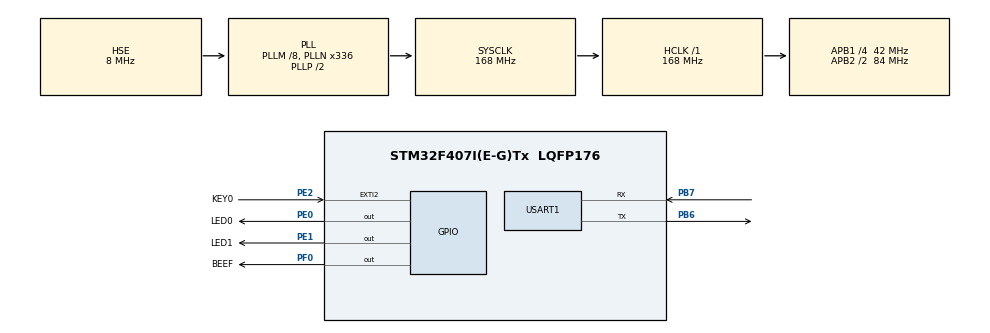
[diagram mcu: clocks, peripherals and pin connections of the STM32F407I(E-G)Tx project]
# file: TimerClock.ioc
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FREERTOS.INCLUDE_vTaskDelayUntil=1
FREERTOS.MEMORY_ALLOCATION=2
FREERTOS.Queues01=CmdQueue,50,uint8_t,0,Dynamic,NULL,NULL;LedQueue,20,uint8_t,0,Dynamic,NULL,NULL
FREERTOS.Tasks01=UsartTask,-2,128,Usart_Task,Default,NULL,Static,UsartTaskBuffer,UsartTaskControlBlock;LedxTask,0,128,Ledx_Task,Default,NULL,Dynamic,NULL,NULL;Key0Task,0,128,Key0_Task,Default,NULL,Dynamic,NULL,NULL;DelayTask,-2,128,Delay_Task,Default,NULL,Dynamic,NULL,NULL
FREERTOS.Timers01=RtcTimer,Rtc_Timer,osTimerPeriodic,Default,NULL,Dynamic,NULL
FREERTOS.configCHECK_FOR_STACK_OVERFLOW=1
FREERTOS.configGENERATE_RUN_TIME_STATS=1
FREERTOS.configUSE_STATS_FORMATTING_FUNCTIONS=1
FREERTOS.configUSE_TIMERS=1
FREERTOS.configUSE_TRACE_FACILITY=1
Mcu.Family=STM32F4
Mcu.Name=STM32F407I(E-G)Tx
Mcu.Package=LQFP176
NVIC.EXTI2_IRQn=true\:5\:0\:false\:false\:true\:true\:true\:true\:true
NVIC.PriorityGroup=NVIC_PRIORITYGROUP_4
NVIC.TIM1_UP_TIM10_IRQn=true\:0\:0\:true\:false\:true\:false\:false\:true\:true
NVIC.TIM6_DAC_IRQn=true\:5\:0\:false\:false\:true\:true\:true\:true\:true
NVIC.TimeBase=TIM1_UP_TIM10_IRQn
NVIC.TimeBaseIP=TIM1
NVIC.USART1_IRQn=true\:5\:0\:false\:false\:true\:true\:true\:true\:true
PA13.Mode=Serial_Wire
PA13.Signal=SYS_JTMS-SWDIO
PA14.Mode=Serial_Wire
PA14.Signal=SYS_JTCK-SWCLK
PB6.Mode=Asynchronous
PB6.Signal=USART1_TX
PB7.Mode=Asynchronous
PB7.Signal=USART1_RX
PC14-OSC32_IN.Mode=LSE-External-Oscillator
PC14-OSC32_IN.Signal=RCC_OSC32_IN
PC15-OSC32_OUT.Mode=LSE-External-Oscillator
PC15-OSC32_OUT.Signal=RCC_OSC32_OUT
PE0.GPIO_Label=LED0
PE0.GPIO_Speed=GPIO_SPEED_FREQ_HIGH
PE0.PinState=GPIO_PIN_SET
PE0.Signal=GPIO_Output
PE1.GPIO_Label=LED1
PE1.GPIO_Speed=GPIO_SPEED_FREQ_HIGH
PE1.PinState=GPIO_PIN_SET
PE1.Signal=GPIO_Output
PE2.GPIO_Label=KEY0
PE2.GPIO_ModeDefaultEXTI=GPIO_MODE_IT_RISING_FALLING
PE2.GPIO_PuPd=GPIO_PULLUP
PE2.Signal=GPXTI2
PF0.GPIO_Label=BEEF
PF0.GPIO_PuPd=GPIO_PULLUP
PF0.GPIO_Speed=GPIO_SPEED_FREQ_HIGH
PF0.PinState=GPIO_PIN_RESET
PF0.Signal=GPIO_Output
PH0-OSC_IN.Mode=HSE-External-Oscillator
PH0-OSC_IN.Signal=RCC_OSC_IN
PH1-OSC_OUT.Mode=HSE-External-Oscillator
PH1-OSC_OUT.Signal=RCC_OSC_OUT
ProjectManager.HeapSize=0x200
ProjectManager.StackSize=0x400
ProjectManager.TargetToolchain=MDK-ARM V5.32
RCC.48MHZClocksFreq_Value=84000000
RCC.AHBFreq_Value=168000000
RCC.APB1CLKDivider=RCC_HCLK_DIV4
RCC.APB1Freq_Value=42000000
RCC.APB1TimFreq_Value=84000000
RCC.APB2CLKDivider=RCC_HCLK_DIV2
RCC.APB2Freq_Value=84000000
RCC.APB2TimFreq_Value=168000000
RCC.CortexFreq_Value=168000000
RCC.HCLKFreq_Value=168000000
RCC.HSE_VALUE=8000000
RCC.HSI_VALUE=16000000
RCC.PLLM=8
RCC.PLLN=336
RCC.PLLSourceVirtual=RCC_PLLSOURCE_HSE
RCC.RCC_RTC_Clock_Source=RCC_RTCCLKSOURCE_LSE
RCC.SYSCLKFreq_VALUE=168000000
RCC.SYSCLKSource=RCC_SYSCLKSOURCE_PLLCLK
RCC.VCOOutputFreq_Value=336000000
RTC.Format=RTC_FORMAT_BIN
TIM6.Period=50-1
TIM6.Prescaler=84-1
USART1.VirtualMode=VM_ASYNC
VP_FREERTOS_VS_CMSIS_V1.Mode=CMSIS_V1
VP_RTC_VS_RTC_Activate.Mode=RTC_Enabled
VP_RTC_VS_RTC_Calendar.Mode=RTC_Calendar
VP_SYS_VS_tim1.Mode=TIM1
VP_TIM6_VS_ClockSourceINT.Mode=Enable_Timer
board=custom

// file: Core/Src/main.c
/* USER CODE BEGIN Header */
/**
  ******************************************************************************
  * @file           : main.c
  * @brief          : Main program body
  ******************************************************************************
  * @attention
  *
  * Copyright (c) 2024 STMicroelectronics.
  * All rights reserved.
  *
  * This software is licensed under terms that can be found in the LICENSE file
  * in the root directory of this software component.
  * If no LICENSE file comes with this software, it is provided AS-IS.
  *
  ******************************************************************************
  */
/* USER CODE END Header */
#include "main.h"
#include "cmsis_os.h"
#include "rtc.h"
#include "tim.h"
#include "usart.h"
#include "gpio.h"

/* USER CODE BEGIN Includes */
#include <stdio.h>
/* USER CODE END Includes */

/* USER CODE BEGIN PV */
extern uint32_t u32TimeCount;
/* USER CODE END PV */

void SystemClock_Config(void);
void MX_FREERTOS_Init(void);

int main(void)
{

  /* MCU Configuration--------------------------------------------------------*/

  /* Reset of all peripherals, Initializes the Flash interface and the Systick. */
  HAL_Init();

  /* Configure the system clock */
  SystemClock_Config();

  /* Initialize all configured peripherals */
  MX_GPIO_Init();
  MX_USART1_UART_Init();
  MX_TIM6_Init();
  MX_RTC_Init();
  /* USER CODE BEGIN 2 */
	//printf("Usart test!");
  /* USER CODE END 2 */

  /* Call init function for freertos objects (in cmsis_os2.c) */
  MX_FREERTOS_Init();

  /* Start scheduler */
  osKernelStart();

  /* We should never get here as control is now taken by the scheduler */

  /* Infinite loop */
  while (1)
  {

  }
}

void SystemClock_Config(void)
{
  RCC_OscInitTypeDef RCC_OscInitStruct = {0};
  RCC_ClkInitTypeDef RCC_ClkInitStruct = {0};

  /** Configure the main internal regulator output voltage
  */
  __HAL_RCC_PWR_CLK_ENABLE();
  __HAL_PWR_VOLTAGESCALING_CONFIG(PWR_REGULATOR_VOLTAGE_SCALE1);

  /** Initializes the RCC Oscillators according to the specified parameters
  * in the RCC_OscInitTypeDef structure.
  */
  RCC_OscInitStruct.OscillatorType = RCC_OSCILLATORTYPE_HSE|RCC_OSCILLATORTYPE_LSE;
  RCC_OscInitStruct.HSEState = RCC_HSE_ON;
  RCC_OscInitStruct.LSEState = RCC_LSE_ON;
  RCC_OscInitStruct.PLL.PLLState = RCC_PLL_ON;
  RCC_OscInitStruct.PLL.PLLSource = RCC_PLLSOURCE_HSE;
  RCC_OscInitStruct.PLL.PLLM = 8;
  RCC_OscInitStruct.PLL.PLLN = 336;
  RCC_OscInitStruct.PLL.PLLP = RCC_PLLP_DIV2;
  RCC_OscInitStruct.PLL.PLLQ = 4;
  if (HAL_RCC_OscConfig(&RCC_OscInitStruct) != HAL_OK)
  {
    Error_Handler();
  }

  /** Initializes the CPU, AHB and APB buses clocks
  */
  RCC_ClkInitStruct.ClockType = RCC_CLOCKTYPE_HCLK|RCC_CLOCKTYPE_SYSCLK
                              |RCC_CLOCKTYPE_PCLK1|RCC_CLOCKTYPE_PCLK2;
  RCC_ClkInitStruct.SYSCLKSource = RCC_SYSCLKSOURCE_PLLCLK;
  RCC_ClkInitStruct.AHBCLKDivider = RCC_SYSCLK_DIV1;
  RCC_ClkInitStruct.APB1CLKDivider = RCC_HCLK_DIV4;
  RCC_ClkInitStruct.APB2CLKDivider = RCC_HCLK_DIV2;

  if (HAL_RCC_ClockConfig(&RCC_ClkInitStruct, FLASH_LATENCY_5) != HAL_OK)
  {
    Error_Handler();
  }
}

/* USER CODE BEGIN 4 */
//printf
int fputc(int ch, FILE *f)
{
    while((USART1->SR & 0X40)==0);
    USART1->DR = (uint8_t) ch;
    return ch;
}
/* USER CODE END 4 */

void HAL_TIM_PeriodElapsedCallback(TIM_HandleTypeDef *htim)
{
  /* USER CODE BEGIN Callback 0 */
  if (htim->Instance == TIM1) {
    HAL_IncTick();
  }
  /* USER CODE END Callback 0 */
  if (htim->Instance == TIM1) {
    HAL_IncTick();
  }
  /* USER CODE BEGIN Callback 1 */
	if (htim->Instance == TIM6) {
    u32TimeCount++;
  }

  /* USER CODE END Callback 1 */
}

void Error_Handler(void)
{
  __disable_irq();
  while (1)
  {
  }
}

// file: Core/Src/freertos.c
/* USER CODE BEGIN Header */
/**
  ******************************************************************************
  * File Name          : freertos.c
  * Description        : Code for freertos applications
  ******************************************************************************
  * @attention
  *
  * Copyright (c) 2024 STMicroelectronics.
  * All rights reserved.
  *
  * This software is licensed under terms that can be found in the LICENSE file
  * in the root directory of this software component.
  * If no LICENSE file comes with this software, it is provided AS-IS.
  *
  ******************************************************************************
  */
/* USER CODE END Header */

#include "FreeRTOS.h"
#include "task.h"
#include "main.h"
#include "cmsis_os.h"

/* USER CODE BEGIN Includes */
#include "gpio.h"
#include "string.h"
#include "tim.h"
#include "string.h"
#include "rtc.h"
/* USER CODE END Includes */

/* USER CODE BEGIN PTD */

typedef struct tmrTimerControl
{
	const char				*pcTimerName;		/*<< Text name.  This is not used by the kernel, it is included simply to make debugging easier. */ /*lint !e971 Unqualified char types are allowed for strings and single characters only. */
	ListItem_t				xTimerListItem;		/*<< Standard linked list item as used by all kernel features for event management. */
	TickType_t				xTimerPeriodInTicks;/*<< How quickly and often the timer expires. */
	UBaseType_t				uxAutoReload;		/*<< Set to pdTRUE if the timer should be automatically restarted once expired.  Set to pdFALSE if the timer is, in effect, a one-shot timer. */
	void 					*pvTimerID;			/*<< An ID to identify the timer.  This allows the timer to be identified when the same callback is used for multiple timers. */
	TimerCallbackFunction_t	pxCallbackFunction;	/*<< The function that will be called when the timer expires. */
	#if( configUSE_TRACE_FACILITY == 1 )
		UBaseType_t			uxTimerNumber;		/*<< An ID assigned by trace tools such as FreeRTOS+Trace */
	#endif

	#if( ( configSUPPORT_STATIC_ALLOCATION == 1 ) && ( configSUPPORT_DYNAMIC_ALLOCATION == 1 ) )
		uint8_t 			ucStaticallyAllocated; /*<< Set to pdTRUE if the timer was created statically so no attempt is made to free the memory again if the timer is later deleted. */
	#endif
} xTIMER;

/* USER CODE END PTD */

/* USER CODE BEGIN PD */
#define LED_NUM  2  //LED数量

//串口接收buff
#define MESSAGE_BUFF_SIZE 50
//led接收buff
#define LED_MESSAGE_BUFF_SIZE 20
//实时时钟字符串头
#define REALTIME "realtime"
//闹钟字符串头
#define ALARMTIME "alarmtime"
//ms转换
#define ST0MS 1000ul
#define MT0MS (ST0MS*60)
#define HT0MS (MT0MS*60)
#define DT0MS (HT0MS*24)
/* USER CODE END PD */

/* USER CODE BEGIN PM */
extern teKeyStatus KeyStatus;
extern uint32_t u32TimeCount;
/* USER CODE END PM */

/* USER CODE BEGIN Variables */

uint8_t u8CmdBuff[MESSAGE_BUFF_SIZE];
static uint8_t u8LedMessageBuff[LED_MESSAGE_BUFF_SIZE];

//LED消息队列，字符串集
uint8_t *LedCmdString[LED_NUM*2] = {
	"openled0",
	"openled1",
	"closeled0",
	"closeled1"
};

uint8_t *OpenString[LED_NUM] = {
	"openled0",
	"openled1"
};

uint8_t *CloseString[LED_NUM] = {
	"closeled0",
	"closeled1"
};

GPIO_TypeDef * LedPort[LED_NUM] = {
	LED0_GPIO_Port,
	LED1_GPIO_Port
};

uint16_t LedPin[LED_NUM] ={
	LED0_Pin,
	LED1_Pin
};

//实时时钟字符串拆分解析结构体
struct sRealTimeString{
 uint8_t Hours[10];
 uint8_t Minutes[10];
 uint8_t Seconds[10];
 uint8_t Month[10];
 uint8_t Date[10];
 uint8_t Year[10];

}RealTimeString;
//闹钟字符串拆分解析结构体
struct sAlarmTimeString{
 uint8_t Hours[10];
 uint8_t Minutes[10];
 uint8_t Seconds[10];
 uint8_t Mode[10];
 uint8_t Action[10];

}AlarmTimeString;
//闹钟参数结构体
typedef struct{
 uint8_t Hours;
 uint8_t Minutes;
 uint8_t Seconds;
 uint8_t Mode;
 uint8_t Action;

} sAlarmTime;
/* USER CODE END Variables */
osThreadId UsartTaskHandle;
uint32_t UsartTaskBuffer[ 128 ];
osStaticThreadDef_t UsartTaskControlBlock;
osThreadId LedxTaskHandle;
osThreadId Key0TaskHandle;
osThreadId DelayTaskHandle;
osMessageQId CmdQueueHandle;
osMessageQId LedQueueHandle;
osTimerId RtcTimerHandle;

void Usart_Task(void const * argument);
void Ledx_Task(void const * argument);
void Key0_Task(void const * argument);
void Delay_Task(void const * argument);
void Rtc_Timer(void const * argument);

void MX_FREERTOS_Init(void); /* (MISRA C 2004 rule 8.1) */

/* GetIdleTaskMemory prototype (linked to static allocation support) */
void vApplicationGetIdleTaskMemory( StaticTask_t **ppxIdleTaskTCBBuffer, StackType_t **ppxIdleTaskStackBuffer, uint32_t *pulIdleTaskStackSize );

/* GetTimerTaskMemory prototype (linked to static allocation support) */
void vApplicationGetTimerTaskMemory( StaticTask_t **ppxTimerTaskTCBBuffer, StackType_t **ppxTimerTaskStackBuffer, uint32_t *pulTimerTaskStackSize );

/* Hook prototypes */
void configureTimerForRunTimeStats(void);
unsigned long getRunTimeCounterValue(void);
void vApplicationStackOverflowHook(xTaskHandle xTask, signed char *pcTaskName);

/* USER CODE BEGIN 1 */
/* Functions needed when configGENERATE_RUN_TIME_STATS is on */
__weak void configureTimerForRunTimeStats(void)
{
	//1. 开启定时器6的中断——启动定时器
	//2. 定时器统计值，初始化为0
	HAL_TIM_Base_Stop_IT(&htim6);  //参数：TIM_HandleTypeDef* 类型的定时器句柄指针(在tim.c中)
	u32TimeCount = 0ul;
}

__weak unsigned long getRunTimeCounterValue(void)
{
	return u32TimeCount;
}
/* USER CODE END 1 */

/* USER CODE BEGIN 4 */
__weak void vApplicationStackOverflowHook(xTaskHandle xTask, signed char *pcTaskName)
{
	 printf("%s is Stack OverFlow!\r\n", pcTaskName);
   /* Run time stack overflow checking is performed if
   configCHECK_FOR_STACK_OVERFLOW is defined to 1 or 2. This hook function is
   called if a stack overflow is detected. */
}
//模拟栈溢出
void vStackOverFlowTest(void){
	uint8_t u8TestBuffer[128];
	int16_t i;
	(void)u8TestBuffer;
	for(i = 360; i >= 0; i--){
		u8TestBuffer[i] = 0x88;
	}
}

//闹钟触发的软件定时器，回调函数
void vTimerCallback(xTimerHandle pxTimer){
  uint32_t ulTimerID;
  uint8_t i;
  //获取当前定时器ID
  ulTimerID = (uint32_t)pvTimerGetTimerID(pxTimer);
  //判断定时器工作模式，如果自动重载，则更新软件定时器周期
  if(((xTIMER*)pxTimer)->uxAutoReload){
      xTimerChangePeriodFromISR(pxTimer,DT0MS,NULL);
      printf("明天继续触发动作！！！\r\n");
  }
  printf("ulTimerID = %d\r\n",ulTimerID);
  //根据软件定时器ID号， 发送到led消息队列中
  for(i=0;i<strlen((char const*)LedCmdString[ulTimerID]);i++){
    xQueueSend(LedQueueHandle,&LedCmdString[ulTimerID][i],1);
  }
}

//计算闹钟与实时时钟之前的间隔时间，返回ms
uint32_t CountAlarmInterval(sAlarmTime AlarmTime){
  int32_t AlarmTimeTick,RealTimeTick;
  RTCTimeDates RTCTimeDate;
  //获取实时时钟
  RTCTimeDate = GetRTC();
  //计算闹钟ms计数
  AlarmTimeTick = AlarmTime.Hours*HT0MS+AlarmTime.Minutes*MT0MS+AlarmTime.Seconds*ST0MS;
  //计算实时时钟ms计数
  RealTimeTick = RTCTimeDate.RtcTime.Hours*HT0MS+RTCTimeDate.RtcTime.Minutes*MT0MS+RTCTimeDate.RtcTime.Seconds*ST0MS;
  printf("AlarmTimeTick = %lu\r\n",(unsigned long)AlarmTimeTick);
  printf("RealTimeTick = %lu\r\n",(unsigned long)RealTimeTick);
  //判断闹钟是否大于等于当前实时时钟
  //大于->返回闹钟-实时时钟
  if((AlarmTimeTick-RealTimeTick) >= 0){

      return AlarmTimeTick-RealTimeTick;
  }else{
    //小于->一天的ms值+实时时钟-返回闹钟
    return DT0MS+RealTimeTick-AlarmTimeTick;
  }
}

void ParseAlarmTimeString(uint8_t *buff){
	char *pbufftime;
	char *pbufftimeindex;
	char *pbuffparm;
	char *pbuffparmindex;
	uint32_t AlarmTick;
	TimerHandle_t xTimer;
	sAlarmTime AlarmTime;
	void SetRTC(RTCTimeDates *pRTCTimeDate);
    //获取闹钟时间字符串指针
    pbufftime = strstr((char const *)buff, ":");
    //获取闹钟参数字符串指针
    pbuffparm = strstr((char const *)buff, ",");
    if (pbufftime != NULL)
    {
        //指针加1 取出正确的头指针
        pbufftime++;
        //取出正确的尾指针
        pbufftime = strtok(pbufftime, ",");
        //取出小时
        pbufftimeindex = strtok(pbufftime, ":");
        memcpy(AlarmTimeString.Hours, pbufftimeindex, strlen(pbufftimeindex));
        //取出分钟
        pbufftimeindex = strtok(NULL, ":");
        memcpy(AlarmTimeString.Minutes, pbufftimeindex, strlen(pbufftimeindex));
        //取出秒
        pbufftimeindex = strtok(NULL, ":");
        memcpy(AlarmTimeString.Seconds, pbufftimeindex, strlen(pbufftimeindex));
    }
    if (pbuffparm != NULL)
    {
        //指针加1 取出正确的头指针
        pbuffparm++;
        //取出工作模式
        pbuffparmindex = strtok(pbuffparm, ",");
        memcpy(AlarmTimeString.Mode, pbuffparmindex, strlen(pbuffparmindex));
        //取出执行动作
        pbuffparmindex = strtok(NULL, ",");
        memcpy(AlarmTimeString.Action, pbuffparmindex, strlen(pbuffparmindex));
    }
    printf("设置闹钟系统时间为：%s:%s:%s\r\n",
           AlarmTimeString.Hours,
           AlarmTimeString.Minutes,
           AlarmTimeString.Seconds);
    printf("设置闹钟工作模式为：%s\r\n",
           AlarmTimeString.Mode);
    printf("设置闹钟执行动作为：%s\r\n",
           AlarmTimeString.Action);
    //转换字符串格式的闹钟参数为整型值
    AlarmTime.Hours = atoi((char const *)AlarmTimeString.Hours);
    AlarmTime.Minutes = atoi((char const *)AlarmTimeString.Minutes);
    AlarmTime.Seconds = atoi((char const *)AlarmTimeString.Seconds);
    AlarmTime.Mode = atoi((char const *)AlarmTimeString.Mode);
    AlarmTime.Action = atoi((char const *)AlarmTimeString.Action);
    //计数周期间隔
    AlarmTick = CountAlarmInterval(AlarmTime);
    printf("当前闹钟间隔为：%lu\r\n",(unsigned long)AlarmTick);
    //创建定时器，传入间隔、工作模式、触发动作
    xTimer = xTimerCreate("timer",AlarmTick,AlarmTime.Mode,(void*)AlarmTime.Action,vTimerCallback);
    //判断定时器是否创建成功
    if(xTimer != NULL){
        //启动定时器
        xTimerStart(xTimer,0);
        printf("启动定时器成功！\r\n");
    }
}

//解析实时时钟字符串
void ParseRealTimeString(uint8_t *buff){
    char *pbuffdate;
    char *pbuffdateindex;
    char *pbufftime;
    char *pbufftimeindex;
	RTCTimeDates RTCTimeDate;
    //获取日期字符串指针
    pbuffdate = strstr((char const *)buff, ":");
    //获取时间字符串指针
    pbufftime = strstr((char const *)buff, ",");
    if (pbuffdate != NULL)
    {
        //指针加1 取出正确的头指针
        pbuffdate++;
        //取出正确的尾指针
        pbuffdate = strtok(pbuffdate, ",");
        //取出年
        pbuffdateindex = strtok(pbuffdate, "-");
        memcpy(RealTimeString.Year, pbuffdateindex, strlen(pbuffdateindex));
        //取出月
        pbuffdateindex = strtok(NULL, "-");
        memcpy(RealTimeString.Month, pbuffdateindex, strlen(pbuffdateindex));
        //取出天
        pbuffdateindex = strtok(NULL, "-");
        memcpy(RealTimeString.Date, pbuffdateindex, strlen(pbuffdateindex));
    }
    if (pbufftime != NULL)
    {
        //指针加1 取出正确的头指针
        pbufftime++;
        //取出小时
        pbufftimeindex = strtok(pbufftime, ":");
        memcpy(RealTimeString.Hours, pbufftimeindex, strlen(pbufftimeindex));
        //取出分钟
        pbufftimeindex = strtok(NULL, ":");
        memcpy(RealTimeString.Minutes, pbufftimeindex, strlen(pbufftimeindex));
        //取出秒
        pbufftimeindex = strtok(NULL, ":");
        memcpy(RealTimeString.Seconds, pbufftimeindex, strlen(pbufftimeindex));
    }
    printf("设置当前系统时间为：%s-%s-%s,%s:%s:%s\r\n",
           RealTimeString.Year,
           RealTimeString.Month,
           RealTimeString.Date,
           RealTimeString.Hours,
           RealTimeString.Minutes,
           RealTimeString.Seconds);
    //字符串转换为实时时钟值
    RTCTimeDate.RtcDate.Year = atoi((char const *)RealTimeString.Year) - 2000;
    RTCTimeDate.RtcDate.Month = atoi((char const *)RealTimeString.Month);
    RTCTimeDate.RtcDate.Date = atoi((char const *)RealTimeString.Date);
    RTCTimeDate.RtcTime.Hours = atoi((char const *)RealTimeString.Hours);
    RTCTimeDate.RtcTime.Minutes = atoi((char const *)RealTimeString.Minutes);
    RTCTimeDate.RtcTime.Seconds = atoi((char const *)RealTimeString.Seconds);
    //设置当前实时时钟
    SetRTC(&RTCTimeDate);
}

//解析串口命令字符串
void vCmdParseString(uint8_t *buff){
    //判断是否为实时时钟设置
    if(strncmp((char const*)buff,REALTIME,strlen(REALTIME)) == 0){
      ParseRealTimeString(buff);
    }
    //判断是否为闹钟设置
    else if(strncmp((char const*)buff,ALARMTIME,strlen(ALARMTIME)) == 0){
      ParseAlarmTimeString(buff);
    }
}

void vLedParseString(uint8_t *buff){
    uint8_t i;
    for(i=0;i<LED_NUM;i++){
      if(strcmp((char const*)buff,(char const*)OpenString[i]) == 0){
        HAL_GPIO_WritePin(LedPort[i], LedPin[i], GPIO_PIN_RESET);
        printf("Cmd is %s\n",OpenString[i]);
				return;
      }
	}
    for(i=0;i<LED_NUM;i++){
      if(strcmp((char const*)buff,(char const*)CloseString[i]) == 0){
				HAL_GPIO_WritePin(LedPort[i], LedPin[i], GPIO_PIN_SET);
				printf("Cmd is %s\n",CloseString[i]);
				return;
      }
    }
}
/* USER CODE END 4 */

/* USER CODE BEGIN GET_IDLE_TASK_MEMORY */
static StaticTask_t xIdleTaskTCBBuffer;
static StackType_t xIdleStack[configMINIMAL_STACK_SIZE];

void vApplicationGetIdleTaskMemory( StaticTask_t **ppxIdleTaskTCBBuffer, StackType_t **ppxIdleTaskStackBuffer, uint32_t *pulIdleTaskStackSize )
{
  *ppxIdleTaskTCBBuffer = &xIdleTaskTCBBuffer;
  *ppxIdleTaskStackBuffer = &xIdleStack[0];
  *pulIdleTaskStackSize = configMINIMAL_STACK_SIZE;
  /* place for user code */
}
/* USER CODE END GET_IDLE_TASK_MEMORY */

/* USER CODE BEGIN GET_TIMER_TASK_MEMORY */
static StaticTask_t xTimerTaskTCBBuffer;
static StackType_t xTimerStack[configTIMER_TASK_STACK_DEPTH];

void vApplicationGetTimerTaskMemory( StaticTask_t **ppxTimerTaskTCBBuffer, StackType_t **ppxTimerTaskStackBuffer, uint32_t *pulTimerTaskStackSize )
{
  *ppxTimerTaskTCBBuffer = &xTimerTaskTCBBuffer;
  *ppxTimerTaskStackBuffer = &xTimerStack[0];
  *pulTimerTaskStackSize = configTIMER_TASK_STACK_DEPTH;
  /* place for user code */
}
/* USER CODE END GET_TIMER_TASK_MEMORY */

void MX_FREERTOS_Init(void) {

  /* Create the timer(s) */
  /* definition and creation of RtcTimer */
  osTimerDef(RtcTimer, Rtc_Timer);
  RtcTimerHandle = osTimerCreate(osTimer(RtcTimer), osTimerPeriodic, NULL);

  /* Create the queue(s) */
  /* definition and creation of CmdQueue */
  osMessageQDef(CmdQueue, 50, uint8_t);
  CmdQueueHandle = osMessageCreate(osMessageQ(CmdQueue), NULL);

  /* definition and creation of LedQueue */
  osMessageQDef(LedQueue, 20, uint8_t);
  LedQueueHandle = osMessageCreate(osMessageQ(LedQueue), NULL);

  /* Create the thread(s) */
  /* definition and creation of UsartTask */
  osThreadStaticDef(UsartTask, Usart_Task, osPriorityLow, 0, 128, UsartTaskBuffer, &UsartTaskControlBlock);
  UsartTaskHandle = osThreadCreate(osThread(UsartTask), NULL);

  /* definition and creation of LedxTask */
  osThreadDef(LedxTask, Ledx_Task, osPriorityNormal, 0, 128);
  LedxTaskHandle = osThreadCreate(osThread(LedxTask), NULL);

  /* definition and creation of Key0Task */
  osThreadDef(Key0Task, Key0_Task, osPriorityNormal, 0, 128);
  Key0TaskHandle = osThreadCreate(osThread(Key0Task), NULL);

  /* definition and creation of DelayTask */
  osThreadDef(DelayTask, Delay_Task, osPriorityLow, 0, 128);
  DelayTaskHandle = osThreadCreate(osThread(DelayTask), NULL);

}

void Usart_Task(void const * argument)
{
  /* USER CODE BEGIN Usart_Task */
  /* Infinite loop */
	uint8_t u8Index;
  for(;;)
  {
		u8Index = 0;  //每次读取消息前，索引初始化0
	  //1、一直等待接收消息,第一个消息应该放在消息缓冲区的第一个元素上
		if(xQueueReceive(CmdQueueHandle,&u8CmdBuff[u8Index++],portMAX_DELAY)==pdPASS){
			while(xQueueReceive(CmdQueueHandle,&u8CmdBuff[u8Index++],50)){}
			u8CmdBuff[u8Index] = '\0';//保证一包完整字符串信息
			vCmdParseString(u8CmdBuff);
			//完成解析以后，要清空接收缓冲区，不然会出现问题
		  memset(u8CmdBuff,0,MESSAGE_BUFF_SIZE);
		}
    osDelay(5000);
  }
  /* USER CODE END Usart_Task */
}

void Ledx_Task(void const * argument)
{
  /* USER CODE BEGIN Ledx_Task */
  /* Infinite loop */
	osTimerStart(RtcTimerHandle,1000);
  for(;;)
  {
    //每次读取消息之前，把索引初始化为0
	  uint8_t u8Index = 0;
	  //1、一直等待接收消息,第一个消息应该放在消息缓冲区的第一个元素上
		if(xQueueReceive(LedQueueHandle,&u8LedMessageBuff[u8Index++],portMAX_DELAY)==pdPASS){
			while(xQueueReceive(LedQueueHandle,&u8LedMessageBuff[u8Index++],50)){}
			u8LedMessageBuff[u8Index] = '\0';//保证一包完整字符串信息
			vLedParseString(u8LedMessageBuff);
			//完成解析以后，要清空接收缓冲区，不然会出现问题
		  memset(u8LedMessageBuff,0,MESSAGE_BUFF_SIZE);
		}
  }
  /* USER CODE END Ledx_Task */
}

void Key0_Task(void const * argument)
{
  /* USER CODE BEGIN Key0_Task */
  /* Infinite loop */
	KeyStatus = KEY_RESET;
  for(;;)
  {
    if(KeyStatus == KEY_DOWN){
			//关闭LED
			HAL_GPIO_WritePin(LED0_GPIO_Port, LED0_Pin, GPIO_PIN_SET);
			HAL_GPIO_WritePin(LED1_GPIO_Port, LED1_Pin, GPIO_PIN_SET);
		}
		if(KeyStatus == KEY_UP){
			//恢复LED任务

			KeyStatus = KEY_RESET;
		}
		//扫描周期10ms
			osDelay(10);
  }
  /* USER CODE END Key0_Task */
}

void Delay_Task(void const * argument)
{
  /* USER CODE BEGIN Delay_Task */
  /* Infinite loop */
  for(;;)
  {
    osDelay(500);
  }
  /* USER CODE END Delay_Task */
}

/* Rtc_Timer function */
void Rtc_Timer(void const * argument)
{
  /* USER CODE BEGIN Rtc_Timer */
	GetRTC();
  /* USER CODE END Rtc_Timer */
}
